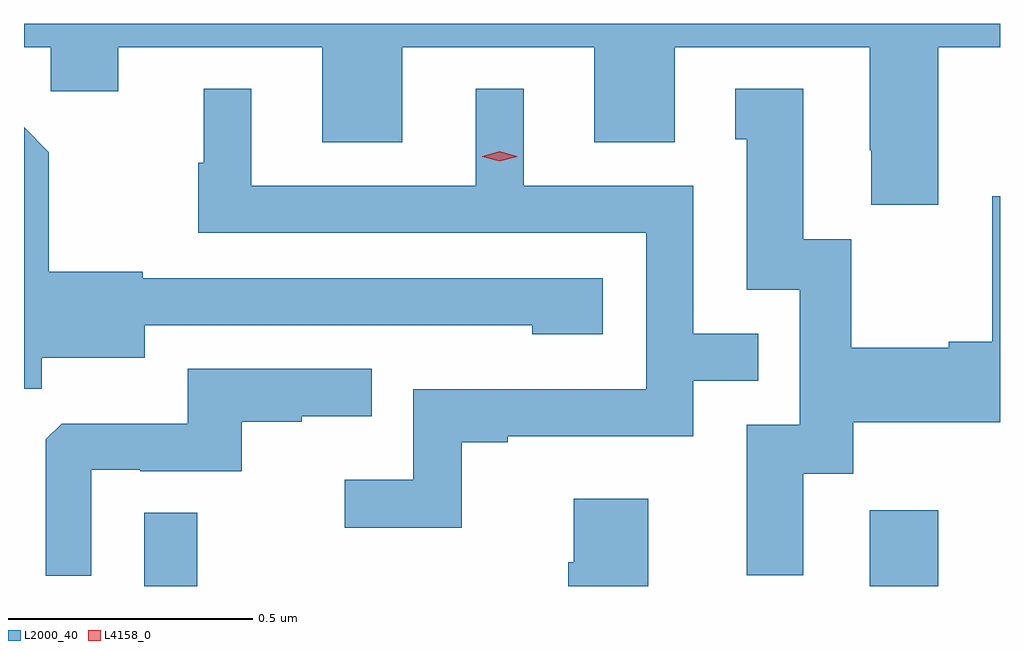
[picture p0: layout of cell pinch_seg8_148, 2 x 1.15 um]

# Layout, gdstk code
import gdstk
lib = gdstk.Library(unit=1e-6, precision=1e-09)
def R(c, l, rs):  # rectangles x0, y0, x1, y1
    for r in rs: c.add(gdstk.rectangle(r[:2], r[2:], *l))
def P(c, l, *ps):  # polygons
    for p in ps: c.add(gdstk.Polygon(p, *l))
L2000_40 = (2000, 40)
L4158_0 = (4158, 0)

pinch_seg8_148 = lib.new_cell('pinch_seg8_148')
R(pinch_seg8_148, L2000_40, [(820.41,1163.348,820.519,1163.498), (821.897,1163.348,822.037,1163.503)])
P(pinch_seg8_148, L2000_40, [(822.037,1164.452),(822.164,1164.452),(822.164,1164.5),(820.164,1164.5),(820.164,1164.452),(820.219,1164.452),(820.219,1164.362),(820.357,1164.362),(820.357,1164.452),(820.775,1164.452),(820.775,1164.258),(820.939,1164.258),(820.939,1164.452),(821.333,1164.452),(821.333,1164.258),(821.497,1164.258),(821.497,1164.452),(821.897,1164.452),(821.897,1164.241),(821.9,1164.241),(821.9,1164.129),(822.037,1164.129)],
  [(821.061,1163.643),(821.155,1163.643),(821.155,1163.655),(821.535,1163.655),(821.535,1163.769),(821.669,1163.769),(821.669,1163.865),(821.535,1163.865),(821.535,1164.168),(821.188,1164.168),(821.188,1164.367),(821.09,1164.367),(821.09,1164.168),(820.63,1164.168),(820.63,1164.367),(820.532,1164.367),(820.532,1164.216),(820.521,1164.216),(820.521,1164.072),(821.439,1164.072),(821.439,1163.751),(820.962,1163.751),(820.962,1163.566),(820.821,1163.566),(820.821,1163.468),(821.061,1163.468)],
  [(821.761,1163.578),(821.863,1163.578),(821.863,1163.684),(822.164,1163.684),(822.164,1164.147),(822.148,1164.147),(822.148,1163.849),(822.059,1163.849),(822.059,1163.836),(821.859,1163.836),(821.859,1164.059),(821.761,1164.059),(821.761,1164.367),(821.621,1164.367),(821.621,1164.264),(821.645,1164.264),(821.645,1163.955),(821.754,1163.955),(821.754,1163.679),(821.645,1163.679),(821.645,1163.37),(821.761,1163.37)],
  [(820.2,1163.816),(820.411,1163.816),(820.411,1163.883),(820.969,1163.883),(820.969,1163.882),(821.205,1163.882),(821.205,1163.864),(821.35,1163.864),(821.35,1163.979),(820.407,1163.979),(820.407,1163.992),(820.215,1163.992),(820.215,1164.237),(820.164,1164.288),(820.164,1163.752),(820.2,1163.752)],
  [(820.302,1163.586),(820.402,1163.586),(820.402,1163.583),(820.61,1163.583),(820.61,1163.685),(820.733,1163.685),(820.733,1163.696),(820.877,1163.696),(820.877,1163.793),(820.5,1163.793),(820.5,1163.681),(820.241,1163.681),(820.209,1163.649),(820.209,1163.369),(820.302,1163.369)],
  [(821.443,1163.527),(821.291,1163.527),(821.291,1163.397),(821.279,1163.397),(821.279,1163.348),(821.443,1163.348)])
P(pinch_seg8_148, L4158_0, [(821.139,1164.219),(821.103,1164.228),(821.103,1164.229),(821.103,1164.229),(821.139,1164.239),(821.175,1164.229),(821.175,1164.229),(821.175,1164.228)])

lib.write_gds('pinch_seg8_148.gds')
